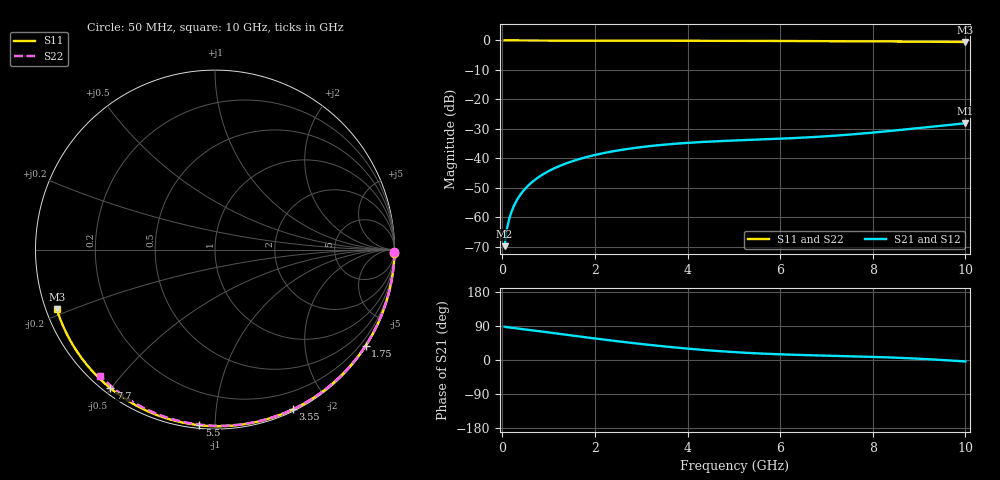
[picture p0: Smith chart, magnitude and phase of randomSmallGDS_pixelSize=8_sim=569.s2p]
! freq	dB(S11)	phase(S11)	dB(S12)	phase(S12)
!  dB(S21)	phase(S21)	dB(S22)	phase(S22)
!S-par simulation data
#  GHz  S  DB  R 50
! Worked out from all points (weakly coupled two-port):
!   200 points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, 50 MHz to 10 GHz, reference 50 ohm
!   highest |S21| = -28.10 dB at 10 GHz (marker M1); lowest = -69.8 dB at 50 MHz (marker M2)
!   lowest |S11| = -0.5 dB at 10 GHz (marker M3), VSWR 33.40, Z = 1.55 - j9.05 ohm
!   |S11| at or under -10 dB: nowhere
!   |S22| runs from -0.4 to 0.0 dB; largest |S21 - S12| = 0
!   S11 on the Smith chart (normalised r, x): 50 MHz: open; 1.75 GHz: 0.03, -3.43; 3.55 GHz: 0.02, -1.60; 5.5 GHz: 0.02, -0.92; 7.7 GHz: 0.02, -0.50; 10 GHz: 0.03, -0.18
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0.05  -0.00 -0.9  -69.78 87.9  -69.78 87.9  -0.00 -0.8
0.1  -0.00 -1.9  -63.90 86.7  -63.90 86.7  -0.00 -1.6
0.15  -0.00 -2.8  -60.47 86.0  -60.47 86.0  -0.00 -2.3
0.2  -0.00 -3.8  -58.03 85.3  -58.03 85.3  -0.00 -3.1
0.25  -0.00 -4.7  -56.13 84.6  -56.13 84.6  -0.00 -3.9
0.35  -0.00 -6.6  -53.25 83.2  -53.25 83.2  -0.00 -5.4
0.5  -0.01 -9.4  -50.19 80.9  -50.19 80.9  -0.01 -7.8
0.7  -0.01 -13.2  -47.32 77.6  -47.32 77.6  -0.01 -10.8
1  -0.02 -18.8  -44.32 72.8  -44.32 72.8  -0.02 -15.4
1.35  -0.03 -25.2  -41.87 67.1  -41.87 67.1  -0.03 -20.8
1.75  -0.04 -32.5  -39.84 60.7  -39.84 60.7  -0.03 -26.8
2.5  -0.06 -45.9  -37.30 49.3  -37.30 49.3  -0.05 -37.9
3.4  -0.08 -61.4  -35.49 37.0  -35.49 37.0  -0.07 -50.9
3.55  -0.09 -64.0  -35.28 35.2  -35.28 35.2  -0.07 -53.0
4.3  -0.11 -76.3  -34.45 27.0  -34.45 27.0  -0.09 -63.4
5.05  -0.14 -88.2  -33.90 20.5  -33.90 20.5  -0.11 -73.5
5.5  -0.15 -95.1  -33.63 17.5  -33.63 17.5  -0.13 -79.3
6.7  -0.22 -112.8  -32.79 12.4  -32.79 12.4  -0.18 -94.3
7.7  -0.29 -127.1  -31.67 9.5  -31.67 9.5  -0.24 -106.3
8.35  -0.34 -136.2  -30.74 6.9  -30.74 6.9  -0.29 -113.8
9.2  -0.43 -148.1  -29.39 2.1  -29.39 2.1  -0.36 -123.4
10  -0.52 -159.5  -28.10 -3.8  -28.10 -3.8  -0.44 -132.3
